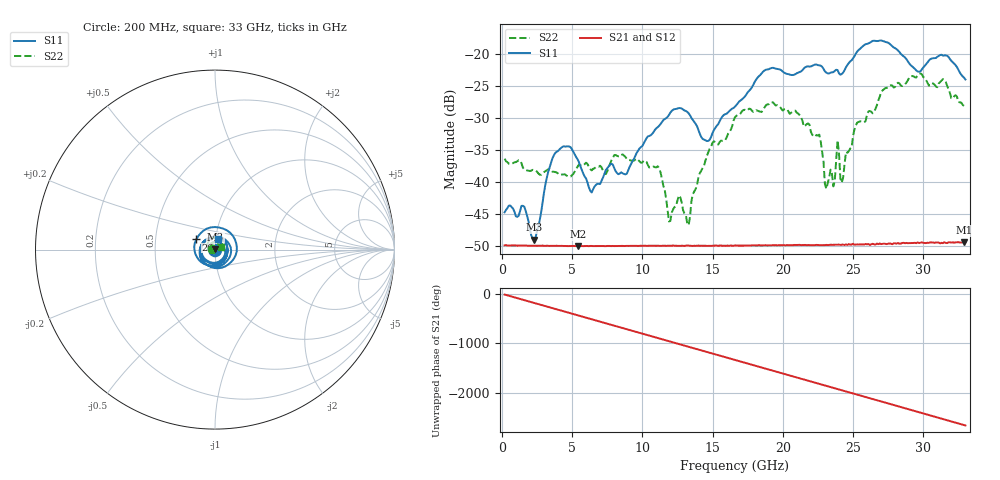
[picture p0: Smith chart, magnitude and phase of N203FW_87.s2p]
# GHZ S RI R 50
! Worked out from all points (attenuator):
!   329 points, 200 MHz to 33 GHz, reference 50 ohm
!   highest |S21| = -49.46 dB at 32.9 GHz (marker M1); lowest = -50.1 dB at 5.4 GHz (marker M2)
!   lowest |S11| = -49.1 dB at 2.3 GHz (marker M3), VSWR 1.01, Z = 50.1 + j0.332 ohm
!   |S11| at or under -10 dB: start of sweep to end of sweep
!   |S22| runs from -46.8 to -23.1 dB; largest |S21 - S12| = 8.8e-05
!   S11 on the Smith chart (normalised r, x): 200 MHz: 1.01, +0.00; 26 GHz: 0.81, +0.09; 33 GHz: 1.02, +0.12
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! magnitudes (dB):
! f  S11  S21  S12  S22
! 200 MHz  -44.8  -50.0  -49.9  -36.4
! 1.6 GHz  -43.9  -50.0  -50.0  -38.1
! 2.3 GHz  -49.1  -50.0  -50.0  -38.2
! 3.7 GHz  -35.9  -50.1  -50.0  -38.5
! 5.4 GHz  -36.6  -50.1  -50.0  -37.6
! 5.7 GHz  -38.2  -50.1  -50.1  -37.6
! 8.9 GHz  -38.8  -50.0  -50.0  -36.5
! 11.2 GHz  -31.3  -50.0  -50.0  -37.9
! 11.9 GHz  -29.6  -50.0  -50.0  -46.2
! 12.6 GHz  -28.5  -50.0  -50.0  -42.2
! 13.3 GHz  -29.3  -50.0  -50.0  -46.8
! 14.7 GHz  -33.7  -50.0  -50.0  -35.4
! 16.6 GHz  -28.3  -50.0  -50.0  -29.9
! 19.3 GHz  -22.2  -49.9  -49.9  -27.6
! 22.1 GHz  -21.9  -49.9  -49.9  -32.7
! 23.6 GHz  -22.9  -49.9  -49.9  -40.8
! 23.9 GHz  -22.6  -49.9  -49.9  -33.6
! 24.2 GHz  -23.2  -49.9  -49.8  -40.2
! 26 GHz  -18.5  -49.8  -49.8  -29.5
! 27.6 GHz  -18.5  -49.7  -49.7  -25.0
! 32.9 GHz  -23.7  -49.5  -49.4  -28.2
! 33 GHz  -24.0  -49.5  -49.5  -28.6
